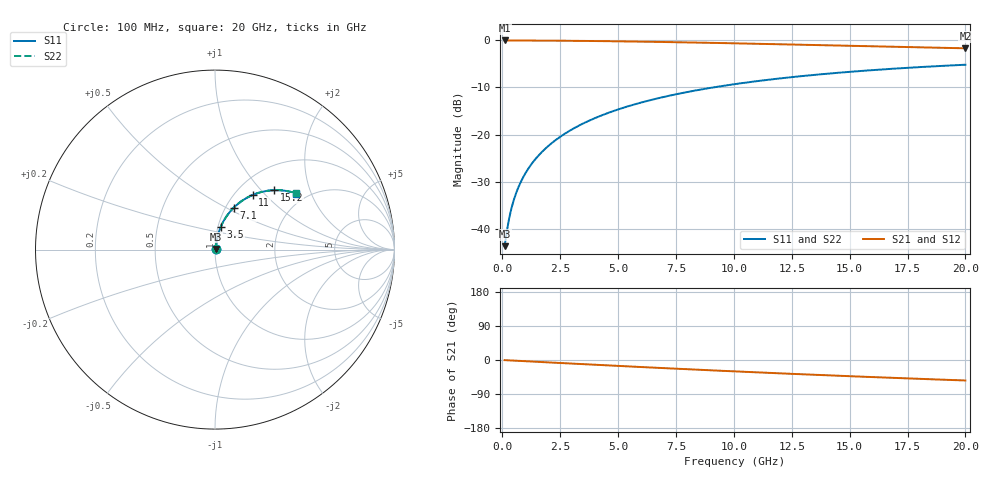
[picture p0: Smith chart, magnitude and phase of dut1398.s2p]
! Touchstone file exported from HFSS 2026.1.0
!  File:  C:/ffzhzh/LocalFiles/Ansys_Project_Files/temp_train_TMRDL_1398_1783166328_51560.aedt
!  Generated:  08:00:06 PM Jul  4, 2026
!  Design:  TMRDL
!  Project:  temp_train_TMRDL_1398_1783166328_51560
! Variables:
!  h_bsmrdl = 2um
!  h_ox = 20um
!  h_rdl = 5um
!  h_sub = 80um
!  h_tmrdl = 3.42um
!  h_tsv = 80um
!  h_via = 3um
!  l_bsmrdl = 300um
!  l_sub = 1173.55um
!  l_tmrdl = 773.55um
!  m_sub = 200um
!  pitch = 51.25um
!  r_tsv = 6um
!  s_tmrdl = 10um
!  w_bsmrdl = 18um
!  w_sub = 500um
!  w_tmrdl = 15.54um
!  x_tsv_center1 = 781.32um
!  x_tsv_center2 = 1099.32um
!  x_tsv_center3 = 1888.41um
!  x_tsv_center4 = 2206.41um
!  x_tsv_center5 = 2995.5um
!  x_tsv_center6 = 3313.5um
# GHz S MA R 50.000000
! Terminal data exported
! Port[1] = TM_RDL1_1_T1
! Port[2] = TM_RDL1_1_T2
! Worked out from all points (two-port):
!   200 points, 100 MHz to 20 GHz, reference 50 ohm
!   highest |S21| = -0.05 dB at 100 MHz (marker M1); lowest = -1.7 dB at 20 GHz (marker M2)
!   |S21| within 3 dB of the highest: start of sweep to end of sweep
!   lowest |S11| = -43.6 dB at 100 MHz (marker M3), VSWR 1.01, Z = 50.5 + j0.403 ohm
!   |S11| at or under -10 dB: start of sweep to 9.103 GHz
!   |S22| runs from -43.6 to -5.2 dB; largest |S21 - S12| = 8.2e-15
!   S11 on the Smith chart (normalised r, x): 100 MHz: 1.01, +0.01; 3.5 GHz: 1.03, +0.27; 7.1 GHz: 1.09, +0.54; 11 GHz: 1.20, +0.85; 15.2 GHz: 1.40, +1.18; 20 GHz: 1.76, +1.57
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0.1  0.006592 37.3  0.9948 -0.3  0.9948 -0.3  0.006592 37.3
! Gamma 0 0 0 0
! Port Impedance 50 0 50 0
0.2  0.009615 55.7  0.9946 -0.7  0.9946 -0.7  0.009615 55.7
0.3  0.01313 64.4  0.9945 -1.0  0.9945 -1.0  0.01313 64.4
0.4  0.01678 69.2  0.9943 -1.3  0.9943 -1.3  0.01678 69.2
0.5  0.02047 72.1  0.9941 -1.6  0.9941 -1.6  0.02047 72.1
0.6  0.02417 74.0  0.9939 -1.9  0.9939 -1.9  0.02417 74.0
0.8  0.0316 76.4  0.9935 -2.6  0.9935 -2.6  0.0316 76.4
1.1  0.04278 78.1  0.9929 -3.5  0.9929 -3.5  0.04278 78.1
1.5  0.05772 78.8  0.992 -4.8  0.992 -4.8  0.05771 78.8
2.1  0.0801 78.5  0.9902 -6.6  0.9902 -6.6  0.0801 78.5
2.7  0.1023 77.5  0.9878 -8.5  0.9878 -8.5  0.1023 77.6
3.5  0.1316 75.7  0.9839 -11.0  0.9839 -11.0  0.1316 75.8
5  0.1849 71.8  0.9744 -15.6  0.9744 -15.6  0.1849 71.8
6.8  0.2454 66.8  0.9598 -20.9  0.9598 -20.9  0.2453 66.8
7.1  0.255 66.0  0.9571 -21.8  0.9571 -21.8  0.255 66.0
8.5  0.2984 62.1  0.9437 -25.8  0.9437 -25.8  0.2984 62.2
10.1  0.3445 57.8  0.9272 -30.2  0.9272 -30.2  0.3445 57.9
11  0.3688 55.5  0.9175 -32.6  0.9175 -32.6  0.3688 55.5
13.4  0.4279 49.4  0.891 -38.8  0.891 -38.8  0.4279 49.5
15.2  0.4669 45.1  0.8711 -43.2  0.8711 -43.2  0.4669 45.2
16.7  0.4961 41.7  0.8548 -46.7  0.8548 -46.7  0.4961 41.8
20  0.5503 34.5  0.8213 -54.0  0.8213 -54.0  0.5503 34.6
